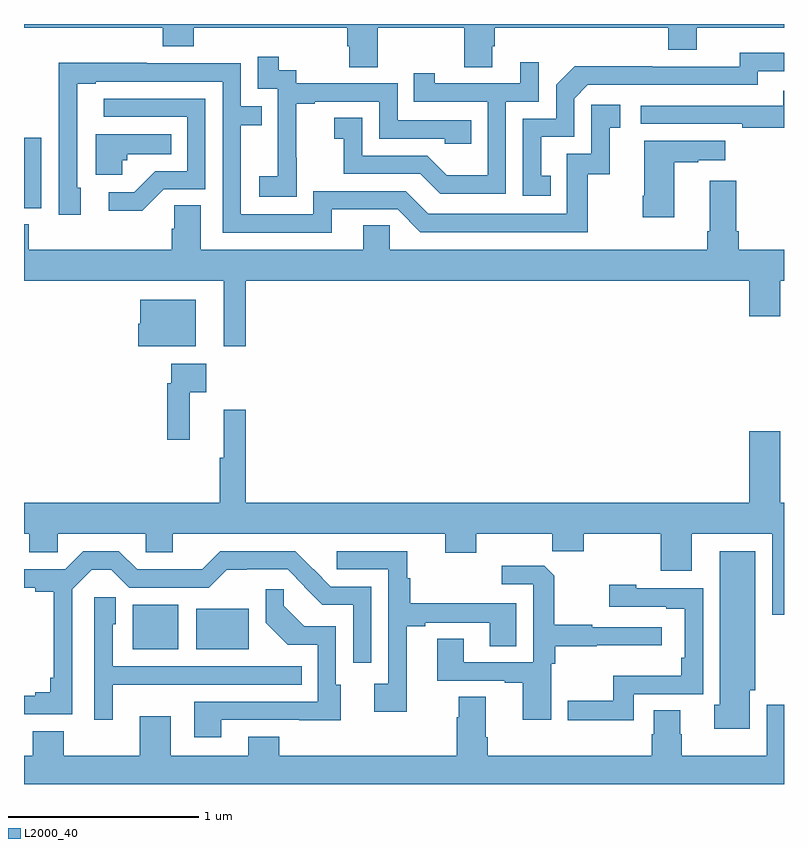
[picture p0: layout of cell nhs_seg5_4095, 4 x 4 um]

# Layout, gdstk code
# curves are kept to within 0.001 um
import gdstk
lib = gdstk.Library(unit=1e-6, precision=1e-09)
def R(c, l, rs):  # rectangles x0, y0, x1, y1
    for r in rs: c.add(gdstk.rectangle(r[:2], r[2:], *l))
def P(c, l, *ps):  # polygons
    for p in ps: c.add(gdstk.Polygon(p, *l))
L2000_40 = (2000, 40)

nhs_seg5_4095 = lib.new_cell('nhs_seg5_4095')
R(nhs_seg5_4095, L2000_40, [(353.573,833.507,353.812,833.743), (353.906,833.507,354.184,833.722), (353,835.83,353.091,836.2)])
P(nhs_seg5_4095, L2000_40, [(354.861,836.78),(355.318,836.78),(355.318,836.572),(355.465,836.572),(355.465,836.682),(355.478,836.682),(355.478,836.78),(356.39,836.78),(356.39,836.663),(356.542,836.663),(356.542,836.78),(357,836.78),(357,836.799),(353,836.799),(353,836.78),(353.729,836.78),(353.729,836.681),(353.894,836.681),(353.894,836.78),(354.701,836.78),(354.701,836.682),(354.713,836.682),(354.713,836.572),(354.861,836.572)],
  [(355.772,836.001),(355.723,836.001),(355.723,836.205),(355.896,836.205),(355.896,836.406),(355.968,836.478),(356.862,836.478),(356.862,836.55),(357,836.55),(357,836.647),(356.766,836.647),(356.766,836.574),(356.306,836.574),(356.306,836.576),(355.898,836.576),(355.8,836.478),(355.8,836.301),(355.626,836.301),(355.626,835.896),(355.772,835.896)],
  [(354.435,836.095),(354.434,836.095),(354.434,836.379),(354.529,836.379),(354.529,836.391),(354.87,836.391),(354.87,836.196),(355.215,836.196),(355.215,836.169),(355.355,836.169),(355.355,836.292),(354.966,836.292),(354.966,836.487),(354.432,836.487),(354.432,836.556),(354.34,836.556),(354.34,836.626),(354.231,836.626),(354.231,836.457),(354.336,836.457),(354.336,836.228),(354.335,836.228),(354.335,835.999),(354.237,835.999),(354.237,835.889),(354.435,835.889)],
  [(355.536,836.391),(355.71,836.391),(355.71,836.599),(355.613,836.599),(355.613,836.487),(355.162,836.487),(355.162,836.539),(355.051,836.539),(355.051,836.391),(355.44,836.391),(355.44,836.002),(355.226,836.002),(355.122,836.106),(354.78,836.106),(354.78,836.305),(354.633,836.305),(354.633,836.195),(354.682,836.195),(354.682,836.01),(355.085,836.01),(355.19,835.905),(355.536,835.905)],
  [(354.619,835.824),(354.966,835.824),(355.086,835.704),(355.966,835.704),(355.966,836.007),(356.084,836.007),(356.084,836.253),(356.137,836.253),(356.137,836.374),(355.986,836.374),(355.986,836.115),(355.857,836.115),(355.857,835.8),(355.128,835.8),(355.008,835.92),(354.522,835.92),(354.522,835.797),(354.141,835.797),(354.141,836.266),(354.251,836.266),(354.251,836.367),(354.141,836.367),(354.141,836.592),(353.645,836.592),(353.645,836.594),(353.182,836.594),(353.182,836.287),(353.184,836.287),(353.184,835.794),(353.299,835.794),(353.299,835.938),(353.28,835.938),(353.28,836.484),(353.377,836.484),(353.377,836.496),(354.045,836.496),(354.045,835.701),(354.619,835.701)],
  [(357,836.449),(356.995,836.449),(356.995,836.37),(356.247,836.37),(356.247,836.274),(356.779,836.274),(356.779,836.254),(357,836.254)],
  [(353.736,835.929),(353.955,835.929),(353.955,836.406),(353.421,836.406),(353.421,836.31),(353.859,836.31),(353.859,836.025),(353.69,836.025),(353.579,835.914),(353.445,835.914),(353.445,835.817),(353.623,835.817)],
  [(353.517,836.082),(353.544,836.082),(353.544,836.114),(353.774,836.114),(353.774,836.218),(353.378,836.218),(353.378,836.006),(353.517,836.006)],
  [(356.422,836.071),(356.549,836.071),(356.549,836.081),(356.692,836.081),(356.692,836.185),(356.264,836.185),(356.264,835.894),(356.257,835.894),(356.257,835.782),(356.422,835.782)],
  [(354.167,835.448),(356.816,835.448),(356.816,835.26),(356.98,835.26),(356.98,835.448),(357,835.448),(357,835.612),(356.762,835.612),(356.762,835.708),(356.749,835.708),(356.749,835.975),(356.609,835.975),(356.609,835.708),(356.597,835.708),(356.597,835.612),(354.924,835.612),(354.924,835.739),(354.785,835.739),(354.785,835.612),(353.929,835.612),(353.929,835.844),(353.79,835.844),(353.79,835.721),(353.777,835.721),(353.777,835.612),(353.024,835.612),(353.024,835.745),(353,835.745),(353,835.448),(354.05,835.448),(354.05,835.104),(354.167,835.104)],
  [(353.905,835.348),(353.612,835.348),(353.612,835.221),(353.6,835.221),(353.6,835.103),(353.905,835.103)],
  [(353.873,834.86),(353.959,834.86),(353.959,835.012),(353.775,835.012),(353.775,834.908),(353.755,834.908),(353.755,834.612),(353.873,834.612)],
  [(357,834.28),(356.98,834.28),(356.98,834.655),(356.816,834.655),(356.816,834.28),(354.167,834.28),(354.167,834.769),(354.05,834.769),(354.05,834.516),(354.031,834.516),(354.031,834.28),(353,834.28),(353,834.116),(353.027,834.116),(353.027,834.018),(353.178,834.018),(353.178,834.116),(353.64,834.116),(353.64,834.018),(353.782,834.018),(353.782,834.116),(355.217,834.116),(355.217,834.017),(355.381,834.017),(355.381,834.116),(355.781,834.116),(355.781,834.023),(355.945,834.023),(355.945,834.116),(356.351,834.116),(356.351,833.922),(356.515,833.922),(356.515,834.116),(356.939,834.116),(356.939,833.691),(357,833.691)],
  [(356.821,833.292),(356.848,833.292),(356.848,834.025),(356.663,834.025),(356.663,833.216),(356.633,833.216),(356.633,833.09),(356.821,833.09)],
  [(355.015,833.629),(355.111,833.629),(355.111,833.649),(355.451,833.649),(355.451,833.524),(355.591,833.524),(355.591,833.75),(355.034,833.75),(355.034,833.882),(355.016,833.882),(355.016,834.024),(354.645,834.024),(354.645,833.928),(354.918,833.928),(354.918,833.326),(354.843,833.326),(354.843,833.178),(355.015,833.178)],
  [(353.253,833.823),(353.357,833.927),(353.458,833.927),(353.553,833.832),(353.973,833.832),(354.068,833.927),(354.387,833.928),(354.477,833.838),(354.475,833.836),(354.569,833.742),(354.732,833.742),(354.732,833.436),(354.828,833.436),(354.828,833.838),(354.615,833.838),(354.427,834.024),(354.033,834.024),(353.939,833.93),(353.834,833.93),(353.834,833.928),(353.595,833.928),(353.499,834.024),(353.312,834.024),(353.216,833.928),(353,833.928),(353,833.832),(353.06,833.832),(353.06,833.812),(353.156,833.812),(353.156,833.359),(353.137,833.359),(353.137,833.282),(353.06,833.282),(353.06,833.263),(353,833.263),(353,833.166),(353.253,833.166)],
  [(355.776,833.432),(355.796,833.432),(355.796,833.524),(356.015,833.524),(356.015,833.528),(356.356,833.528),(356.356,833.625),(355.991,833.625),(355.991,833.638),(355.791,833.638),(355.791,833.895),(355.739,833.947),(355.515,833.947),(355.515,833.85),(355.68,833.85),(355.68,833.439),(355.315,833.439),(355.315,833.564),(355.175,833.564),(355.175,833.343),(355.529,833.343),(355.529,833.331),(355.625,833.331),(355.625,833.136),(355.776,833.136)],
  [(356.208,833.271),(356.574,833.271),(356.574,833.829),(356.223,833.829),(356.223,833.848),(356.079,833.848),(356.079,833.733),(356.381,833.733),(356.381,833.721),(356.478,833.721),(356.478,833.464),(356.458,833.464),(356.458,833.368),(356.1,833.368),(356.1,833.237),(355.863,833.237),(355.863,833.135),(356.208,833.135)],
  [(354.037,833.136),(354.667,833.135),(354.667,833.322),(354.642,833.322),(354.642,833.628),(354.476,833.628),(354.368,833.736),(354.368,833.824),(354.273,833.824),(354.273,833.648),(354.389,833.532),(354.546,833.532),(354.546,833.232),(353.897,833.232),(353.897,833.046),(354.037,833.046)],
  [(353.467,833.321),(353.801,833.321),(353.801,833.322),(354.461,833.322),(354.461,833.418),(353.466,833.418),(353.466,833.64),(353.482,833.64),(353.482,833.783),(353.37,833.783),(353.37,833.136),(353.467,833.136)],
  [(357,833.215),(356.909,833.215),(356.909,832.948),(356.463,832.948),(356.463,833.061),(356.455,833.061),(356.455,833.186),(356.315,833.186),(356.315,833.061),(356.303,833.061),(356.303,832.948),(355.442,832.948),(355.442,833.044),(355.429,833.044),(355.429,833.258),(355.289,833.258),(355.289,833.15),(355.277,833.15),(355.277,832.948),(354.343,832.948),(354.343,833.047),(354.179,833.047),(354.179,832.948),(353.773,832.948),(353.773,833.155),(353.609,833.155),(353.609,832.948),(353.209,832.948),(353.209,833.077),(353.045,833.077),(353.045,832.948),(353,832.948),(353,832.799),(357,832.799)])

lib.write_gds('nhs_seg5_4095.gds')
